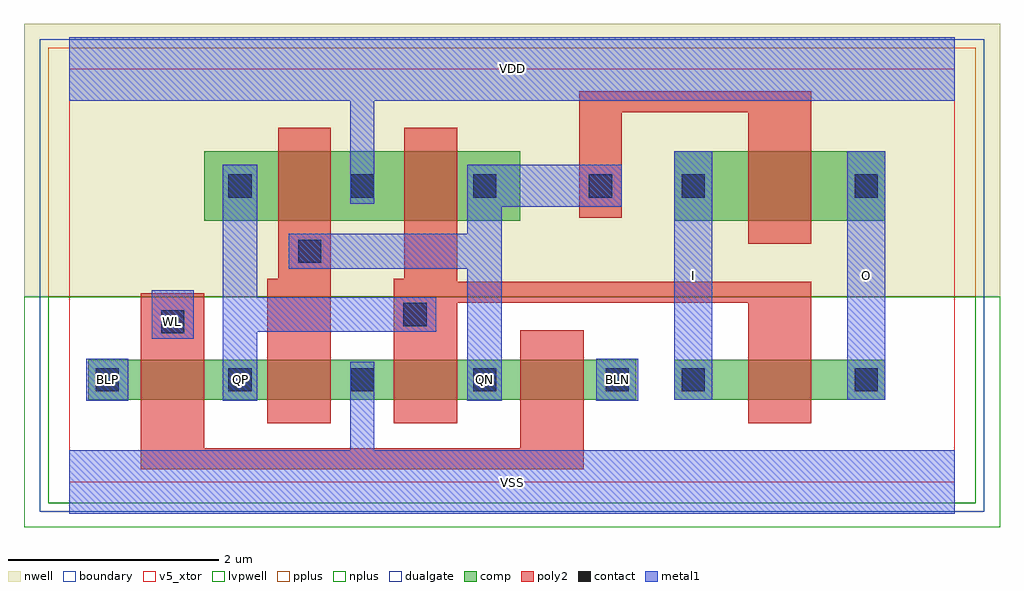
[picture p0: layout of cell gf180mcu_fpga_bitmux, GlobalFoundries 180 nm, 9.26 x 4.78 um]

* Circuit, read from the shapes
.subckt gf180mcu_fpga_bitmux BLN BLP I O QN QP VDD VSS WL
XM1 QP WL BLP VSUBS nfet_05v0 w=0.38u l=0.6u
XM2 VSS QN QP VSUBS nfet_05v0 w=0.38u l=0.6u
XM3 QN QP VSS VSUBS nfet_05v0 w=0.38u l=0.6u
XM4 BLN WL QN VSUBS nfet_05v0 w=0.38u l=0.6u
XM5 O QP I VSUBS nfet_05v0 w=0.38u l=0.6u
XM6 VDD QN QP n1 pfet_05v0 w=0.66u l=0.5u
XM7 QN QP VDD n1 pfet_05v0 w=0.66u l=0.5u
XM8 O QN I n1 pfet_05v0 w=0.66u l=0.6u
.ends

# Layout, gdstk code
import gdstk
lib = gdstk.Library(unit=1e-6, precision=1e-09)
def R(c, l, rs):  # rectangles x0, y0, x1, y1
    for r in rs: c.add(gdstk.rectangle(r[:2], r[2:], *l))
def A(c, l, x, y, w, h, nx, ny, dx, dy):  # array of equal rectangles
    R(c, l, [(x+i*dx, y+j*dy, x+i*dx+w, y+j*dy+h) for i in range(nx) for j in range(ny)])
boundary = (0, 0)
nwell = (21, 0)
comp = (22, 0)
poly2 = (30, 0)
pplus = (31, 0)
nplus = (32, 0)
contact = (33, 0)
metal1 = (34, 0)
dualgate = (55, 0)
v5_xtor = (112, 1)
lvpwell = (204, 0)

gf180mcu_fpga_bitmux = lib.new_cell('gf180mcu_fpga_bitmux')
R(gf180mcu_fpga_bitmux, boundary, [(0,0,8.4,3.92)])
R(gf180mcu_fpga_bitmux, nwell, [(-0.43,1.76,8.83,4.35)])
R(gf180mcu_fpga_bitmux, comp, [(0.18,0.78,5.38,1.16), (5.74,0.78,7.74,1.16), (1.28,2.48,4.28,3.14), (5.74,2.48,7.74,3.14)])
R(gf180mcu_fpga_bitmux, poly2, [(0.68,0.12,4.88,0.32), (0.68,0.32,1.28,1.44), (4.28,0.32,4.88,1.44), (1.88,0.56,2.48,1.93), (3.08,0.56,3.68,1.93), (6.44,0.56,7.04,1.38), (6.44,1.38,7.04,1.7), (0.68,1.44,1.28,1.79), (3.68,1.7,7.04,1.9), (1.98,1.93,2.48,3.36), (3.18,1.93,3.68,3.36), (6.44,2.26,7.04,3.36), (6.44,2.26,7.04,3.51), (4.84,2.51,5.24,3.51), (4.84,3.51,7.04,3.71)])
R(gf180mcu_fpga_bitmux, pplus, [(-0.2,1.76,8.6,4.12)])
R(gf180mcu_fpga_bitmux, nplus, [(-0.2,-0.2,8.6,1.76)])
A(gf180mcu_fpga_bitmux, contact, 1.51, 0.86, 0.22, 0.22, 3, 2, 1.16, 1.84)
R(gf180mcu_fpga_bitmux, contact, [(0.25,0.86,0.47,1.08), (5.09,0.86,5.31,1.08), (5.81,0.86,6.03,1.08), (7.45,0.86,7.67,1.08), (0.87,1.41,1.09,1.63), (3.17,1.48,3.39,1.7), (2.17,2.08,2.39,2.3), (4.93,2.7,5.15,2.92), (5.81,2.7,6.03,2.92), (7.45,2.7,7.67,2.92)])
R(gf180mcu_fpga_bitmux, metal1, [(0,-0.3,8.4,0.3), (2.665,0.3,2.895,1.14), (0.16,0.77,0.56,1.17), (1.455,0.77,1.785,3.01), (3.775,0.77,4.105,3.01), (5,0.77,5.4,1.17), (5.74,0.78,6.1,3.14), (7.38,0.78,7.74,3.14), (0.78,1.36,1.18,1.82), (1.785,1.425,3.48,1.755), (2.08,2.025,3.775,2.355), (3.775,2.61,5.24,3.01), (2.665,2.64,2.895,3.62), (0,3.62,8.4,4.22)])
R(gf180mcu_fpga_bitmux, dualgate, [(-0.28,-0.28,8.68,4.2)])
R(gf180mcu_fpga_bitmux, v5_xtor, [(0,0,8.4,3.92)])
R(gf180mcu_fpga_bitmux, lvpwell, [(-0.43,-0.43,8.83,1.76)])
gf180mcu_fpga_bitmux.add(gdstk.Label('VSS', (4.2,0), layer=34, texttype=10))
gf180mcu_fpga_bitmux.add(gdstk.Label('VDD', (4.2,3.92), layer=34, texttype=10))
gf180mcu_fpga_bitmux.add(gdstk.Label('BLP', (0.36,0.97), layer=34, texttype=10))
gf180mcu_fpga_bitmux.add(gdstk.Label('BLN', (5.2,0.97), layer=34, texttype=10))
gf180mcu_fpga_bitmux.add(gdstk.Label('WL', (0.98,1.52), layer=34, texttype=10))
gf180mcu_fpga_bitmux.add(gdstk.Label('QP', (1.62,0.97), layer=34, texttype=10))
gf180mcu_fpga_bitmux.add(gdstk.Label('QN', (3.94,0.97), layer=34, texttype=10))
gf180mcu_fpga_bitmux.add(gdstk.Label('I', (5.92,1.96), layer=34, texttype=10))
gf180mcu_fpga_bitmux.add(gdstk.Label('O', (7.56,1.96), layer=34, texttype=10))

lib.write_gds('gf180mcu_fpga_bitmux.gds')
